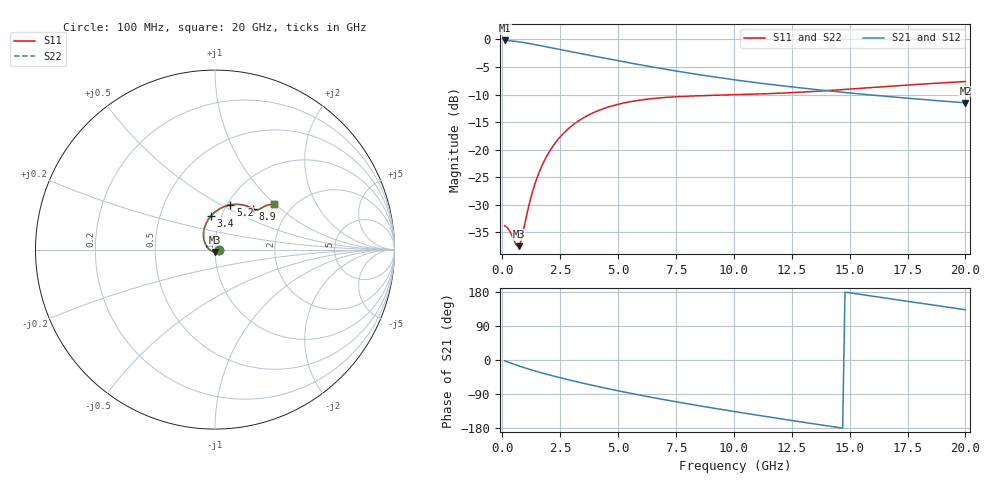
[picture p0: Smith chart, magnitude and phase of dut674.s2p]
! Touchstone file exported from HFSS 2024.1.0
!  File:  C:/UserFiles/LocalFiles/RDL_TSV_Batchsim/temp_RDL_TSV_674_1779814931.aedt
!  Generated:  01:17:16 AM May 27, 2026
!  Design:  RDL_TSV
!  Project:  temp_RDL_TSV_674_1779814931
!  Setup:  Setup1
!  Solution:  Sweep
! Variables:
!  dtsv = 14.47um
!  hbump = 3um
!  htsv = 92um
!  ldown = 185.17um
!  lrdl = 580.89um
!  p = 40
!  p1 = 56.17um
!  rhole = 10um
!  subl = 2879.07um
!  t = 450um
!  tdown = 4.36um
!  trdl = 2.5um
!  viad = 10um
!  wdown = 27.54um
!  wrdl = 17.46um
!  xbump = 18um
# GHz S MA R 50.000000
! Terminal data exported
! Port[1] = TM1_1_T1
! Port[2] = TM1_4_T1
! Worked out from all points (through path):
!   200 points, 100 MHz to 20 GHz, reference 50 ohm
!   highest |S21| = -0.19 dB at 100 MHz (marker M1); lowest = -11.5 dB at 20 GHz (marker M2)
!   group delay of S21, straight-line fit = 29.5 ps
!   lowest |S11| = -37.5 dB at 700 MHz (marker M3), VSWR 1.03, Z = 49.7 - j1.3 ohm
!   |S11| at or under -10 dB: start of sweep to 10.39 GHz
!   |S22| runs from -37.5 to -7.6 dB; largest |S21 - S12| = 1.2e-14
!   S11 on the Smith chart (normalised r, x): 100 MHz: 1.04, -0.01; 3.4 GHz: 0.89, +0.35; 5.2 GHz: 1.04, +0.56; 8.9 GHz: 1.34, +0.68; 20 GHz: 1.61, +0.98
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0.1  0.02036 -7.9  0.9787 -2.3  0.9787 -2.3  0.02036 -7.9
! Gamma 0 0 0 0
! Port Impedance 50 0 50 0
0.3  0.01859 -27.1  0.9734 -6.7  0.9734 -6.7  0.01859 -27.1
0.6  0.01366 -75.8  0.9588 -13.1  0.9588 -13.1  0.01367 -75.8
0.7  0.0133 -100.8  0.9526 -15.2  0.9526 -15.2  0.0133 -100.8
0.8  0.01473 -126.5  0.9459 -17.2  0.9459 -17.2  0.01473 -126.4
1.1  0.0282 -176.1  0.9233 -23.1  0.9233 -23.1  0.02819 -176.0
1.3  0.04111 166.7  0.907 -26.9  0.907 -26.9  0.04109 166.7
1.5  0.05539 154.4  0.8902 -30.5  0.8902 -30.5  0.05536 154.5
1.8  0.07797 140.5  0.865 -35.6  0.865 -35.6  0.07794 140.5
2.1  0.1008 129.5  0.8403 -40.5  0.8403 -40.5  0.1008 129.5
2.5  0.1304 117.4  0.8087 -46.8  0.8087 -46.8  0.1303 117.5
3.4  0.1885 97.0  0.7428 -60.0  0.7428 -60.0  0.1884 97.0
3.5  0.1941 95.1  0.7359 -61.4  0.7359 -61.4  0.194 95.1
4.3  0.2326 82.1  0.6833 -72.3  0.6833 -72.3  0.2325 82.2
5.2  0.2636 70.9  0.6294 -83.8  0.6294 -83.8  0.2635 70.9
6.8  0.2946 57.2  0.5475 -102.5  0.5475 -102.5  0.2944 57.2
8.9  0.3101 47.5  0.4649 -124.8  0.4649 -124.8  0.3099 47.5
10.1  0.315 44.7  0.4281 -136.8  0.4281 -136.8  0.3148 44.7
11.7  0.3231 42.9  0.3878 -152.1  0.3878 -152.1  0.323 43.0
13.4  0.3367 42.2  0.3534 -168.0  0.3534 -168.0  0.3366 42.3
16.7  0.3752 40.7  0.3028 162.0  0.3028 162.0  0.3754 40.8
20  0.4145 37.5  0.2658 132.7  0.2658 132.7  0.415 37.5
